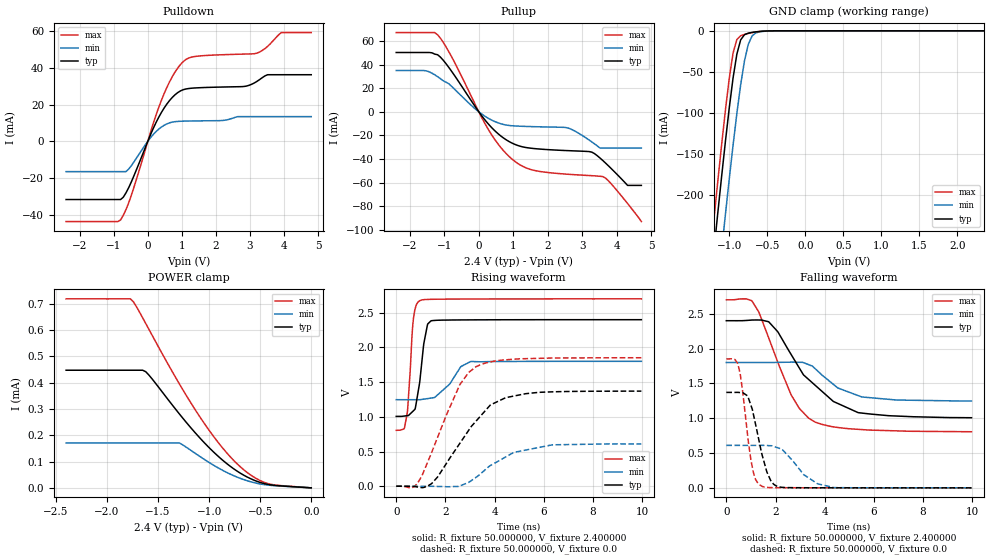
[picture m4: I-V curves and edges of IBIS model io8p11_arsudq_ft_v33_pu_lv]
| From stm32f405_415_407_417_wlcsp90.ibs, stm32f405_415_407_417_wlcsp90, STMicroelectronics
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|   Model io8p11_arsudq_ft_v33_pu_lv
[Model]  io8p11_arsudq_ft_v33_pu_lv
Model_type I/O
Polarity   Non-Inverting
Enable   Active-Low
Vinl =   0.720000V
Vinh =   1.680000V
Vmeas =  1.200000V
Cref =   30.000000pF
Rref =   100.000000M
Vref =   0.0V
C_comp   2.238700pF   2.180600pF   2.332300pF
[Temperature Range]   25.000000   0.125000k   -40.000000
[Pullup Reference]   2.400000V   1.800000V   2.700000V
[Pulldown Reference]   0.0V   0.0V   0.0V
[POWER Clamp Reference]   2.400000V   1.800000V   2.700000V
[GND Clamp Reference]   0.0V   0.0V   0.0V
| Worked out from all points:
|   slope of the pulldown table from 0 to 0.36 V, typ, clamps not added: 25 ohm
|   slope of the pullup table from 0 to 0.36 V, typ, clamps not added: 27.7 ohm
|   GND clamp passes 1 mA (typ) near -0.62 V on its own axis
|   rising waveform, R_fixture 50.000000, V_fixture 2.400000: 20-80 % time 303ps typ, 753ps min, 196ps max; typ from 1.01 V to 2.4 V
|   rising waveform, R_fixture 50.000000, V_fixture 0.0: 20-80 % time 1.7ns typ, 1.56ns min, 1.32ns max; typ from 0.001 V to 1.37 V
|   falling waveform, R_fixture 50.000000, V_fixture 2.400000: 20-80 % time 1.92ns typ, 1.43ns min, 1.35ns max; typ from 2.4 V to 1.01 V
|   falling waveform, R_fixture 50.000000, V_fixture 0.0: 20-80 % time 536ps typ, 998ps min, 390ps max; typ from 1.37 V to 0.001 V
[Pulldown]
|Voltage   I(typ)   I(min)   I(max)
-2.4V     -31.73mA   -16.51mA   -43.74mA
-800mV    -31.73mA   -16.51mA   -42.87mA
-480mV    -21.98mA   -13.17mA   -29.21mA
80mV      3.63mA     1.966mA    5.014mA
480mV     18.16mA    8.738mA    26.02mA
800mV     25.38mA    10.72mA    37.77mA
1.12V     28.53mA    11.02mA    44.6mA
2.8V      29.84mA    13.45mA    47.53mA
3.2V      32.59mA    13.45mA    48.03mA
3.52V     36.3mA     13.45mA    51.74mA
3.92V     36.3mA     13.45mA    59.27mA
4.8V      36.3mA     13.45mA    59.27mA
[Pullup]
|Voltage   I(typ)   I(min)   I(max)
-2.4V     50.37mA    35.09mA    67.27mA
-1.52V    50.37mA    34.75mA    67.27mA
-1.2V     48.49mA    29.88mA    65.45mA
-800mV    34.76mA    21.91mA    47.21mA
320mV     -11.75mA   -6.207mA   -17.08mA
1.04V     -27.53mA   -11.97mA   -41.91mA
1.6V      -31.13mA   -12.57mA   -49.63mA
2.56V     -32.88mA   -13.48mA   -52.9mA
3.28V     -34.18mA   -25.5mA    -54.17mA
3.6V      -41.3mA    -30.73mA   -54.97mA
4.32V     -62.41mA   -30.73mA   -77.79mA
4.72V     -62.41mA   -30.73mA   -93.1mA
[GND_clamp]
|Voltage   I(typ)   I(min)   I(max)
-2.4V     -1.424A    -1.508A    -1.394A
-1.25V    -311.2mA   -401.9mA   -273.3mA
-1.2V     -265.4mA   -356.1mA   -227.2mA
-1.15V    -220.4mA   -310.8mA   -181.9mA
-1.1V     -176.3mA   -266.2mA   -137.9mA
-1.05V    -133.8mA   -222.5mA   -95.87mA
-950mV    -57.3mA    -138.9mA   -26.98mA
-900mV    -28.27mA   -100.4mA   -10.59mA
-850mV    -11.01mA   -65.54mA   -5.958mA
-750mV    -2.834mA   -16.5mA    -3.178mA
-600mV    -750uA     -1.164mA   -738.3uA
2.35V     0A         0A         0A
[POWER_clamp]
|Voltage   I(typ)   I(min)   I(max)
-2.4V     447.7uA    170.8uA    719.3uA
-1.77V    447.7uA    170.8uA    719.3uA
-1.74V    447.7uA    170.8uA    707.6uA
-1.65V    447.7uA    170.8uA    647uA
-1.62V    442uA      170.8uA    625.5uA
-1.29V    280.9uA    170.8uA    395.1uA
-1.02V    161uA      101.5uA    230.1uA
-780mV    78.34uA    49.93uA    112.9uA
-600mV    36.03uA    23.94uA    50.74uA
-450mV    15.19uA    11.76uA    19.45uA
-330mV    8.429uA    7.427uA    9.749uA
0V        0A         0A         0A
[Ramp]
| variable   typ   min   max
dV/dt_r  0.82183/1.69891n   0.36910/1.63253n   1.11191/1.31895n
dV/dt_f  0.83106/1.91079n   0.33174/1.43600n   1.13538/1.35268n
R_load = 50.000000
[Rising Waveform]
R_fixture= 50.000000
V_fixture= 2.400000
V_fixture_min= 1.800000
V_fixture_max= 2.700000
|time   V(typ)   V(min)   V(max)
0s        1.007V     1.247V     806mV
320.3ps   1.012V     1.247V     827.7mV
440.4ps   1.017V     1.247V     1.04V
700.7ps   1.088V     1.247V     2.414V
961ps     1.514V     1.247V     2.673V
1.121ns   2.053V     1.255V     2.689V
1.281ns   2.338V     1.264V     2.692V
1.421ns   2.385V     1.271V     2.693V
3.043ns   2.397V     1.798V     2.698V
9.97ns    2.4V       1.8V       2.7V
[Rising Waveform]
R_fixture= 50.000000
V_fixture= 0.0
V_fixture_min= 0.0
V_fixture_max= 0.0
|time   V(typ)   V(min)   V(max)
0s        955.7uV    874.8uV    1.141mV
620.6ps   -1.541mV   858.3uV    -22.32mV
860.9ps   -10.25mV   901.5uV    40.49mV
1.441ns   39.2mV     82.9uV     488mV
2.583ns   616.3mV    5.559mV    1.46V
3.243ns   937.6mV    128.3mV    1.722V
3.844ns   1.174V     301.7mV    1.793V
5.245ns   1.333V     520.5mV    1.838V
6.366ns   1.361V     597.7mV    1.848V
9.97ns    1.371V     610.3mV    1.852V
[Falling Waveform]
R_fixture= 50.000000
V_fixture= 2.400000
V_fixture_min= 1.800000
V_fixture_max= 2.700000
|time   V(typ)   V(min)   V(max)
0s        2.4V       1.8V       2.7V
1.041ns   2.409V     1.8V       2.685V
1.321ns   2.41V      1.8V       2.524V
1.722ns   2.385V     1.8V       2.154V
2.643ns   1.911V     1.805V     1.332V
3.143ns   1.621V     1.797V     1.076V
3.604ns   1.476V     1.714V     945.9mV
4.545ns   1.21V      1.433V     866.3mV
5.506ns   1.074V     1.306V     837.3mV
9.97ns    1.007V     1.247V     806mV
[Falling Waveform]
R_fixture= 50.000000
V_fixture= 0.0
V_fixture_min= 0.0
V_fixture_max= 0.0
|time   V(typ)   V(min)   V(max)
0s        1.371V     610.3mV    1.852V
460.5ps   1.371V     610.2mV    1.789V
660.7ps   1.366V     610.1mV    1.392V
1.001ns   1.185V     609.9mV    398.1mV
1.441ns   490.7mV    610.7mV    25.04mV
1.802ns   107.9mV    605.7mV    4.671mV
2.202ns   11.05mV    562.3mV    2.86mV
3.143ns   2.463mV    191.5mV    2.026mV
4.384ns   1.637mV    4.533mV    1.627mV
9.97ns    955.7uV    874.8uV    1.141mV
